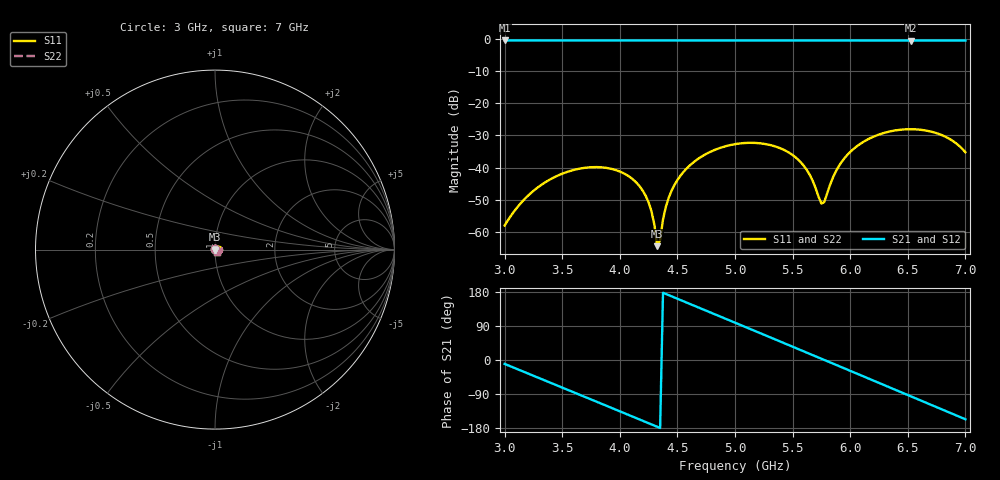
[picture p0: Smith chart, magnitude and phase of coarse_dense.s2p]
! yapnr rf: line-osh-w-w3p00-l60-w-eq, footprint re-simulated (optimization grid)
! spec sha256 60ca90b75f6ede52711dd7cf3d5b6c520f2e55c1a6071e47c2fda53d67121304
! 2 ports renormalized to 50 ohm, e^(+jwt) convention
# GHz S RI R 50
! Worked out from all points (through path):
!   161 points, 3 GHz to 7 GHz, reference 50 ohm
!   highest |S21| = -0.57 dB at 3 GHz (marker M1); lowest = -0.6 dB at 6.525 GHz (marker M2)
!   group delay of S21, straight-line fit = 352 ps
!   lowest |S11| = -64.3 dB at 4.325 GHz (marker M3), VSWR 1.00, Z = 50.1 - j0.035 ohm
!   |S11| at or under -10 dB: start of sweep to end of sweep
!   |S22| runs from -64.3 to -28.1 dB; largest |S21 - S12| = 0
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3  -0.000213 0.00126  0.9215 -0.1668  0.9215 -0.1668  -0.000213 0.00126
3.3  0.00388 0.00338  0.6301 -0.6924  0.6301 -0.6924  0.00388 0.00338
3.675  0.00976 -0.00144  -0.0752 -0.9328  -0.0752 -0.9328  0.00976 -0.00144
3.95  0.00694 -0.00631  -0.5899 -0.7261  -0.5899 -0.7261  0.00694 -0.00631
4.15  0.00243 -0.0052  -0.8423 -0.4068  -0.8423 -0.4068  0.00243 -0.0052
4.275  0.000671 -0.002  -0.9209 -0.1633  -0.9209 -0.1633  0.000671 -0.002
4.325  0.0005 -0.00035  -0.9332 -0.0613  -0.9332 -0.0613  0.0005 -0.00035
4.35  0.000555 0.000523  -0.9351 -0.00996  -0.9351 -0.00996  0.000555 0.000523
4.4  0.00096 0.00231  -0.9305 0.0927  -0.9305 0.0927  0.00096 0.00231
4.525  0.00374 0.00647  -0.8702 0.3418  -0.8702 0.3418  0.00374 0.00647
4.725  0.0123 0.00944  -0.6411 0.68  -0.6411 0.68  0.0123 0.00944
5  0.0231 0.00208  -0.1389 0.9237  -0.1389 0.9237  0.0231 0.00208
5.425  0.0138 -0.013  0.6639 0.6566  0.6639 0.6566  0.0138 -0.013
5.675  0.00352 -0.00516  0.9101 0.2085  0.9101 0.2085  0.00352 -0.00516
5.75  0.00271 -0.000632  0.932 0.0547  0.932 0.0547  0.00271 -0.000632
5.775  0.00278 0.000967  0.9336 0.00281  0.9336 0.00281  0.00278 0.000967
5.875  0.00486 0.00729  0.9111 -0.2031  0.9111 -0.2031  0.00486 0.00729
5.975  0.00963 0.0125  0.8436 -0.3992  0.8436 -0.3992  0.00963 0.0125
6.35  0.0357 0.00857  0.2696 -0.8928  0.2696 -0.8928  0.0357 0.00857
6.525  0.0393 -0.00444  -0.0905 -0.9281  -0.0905 -0.9281  0.0393 -0.00444
6.8  0.0254 -0.019  -0.6093 -0.7063  -0.6093 -0.7063  0.0254 -0.019
7  0.0103 -0.014  -0.8555 -0.3726  -0.8555 -0.3726  0.0103 -0.014
